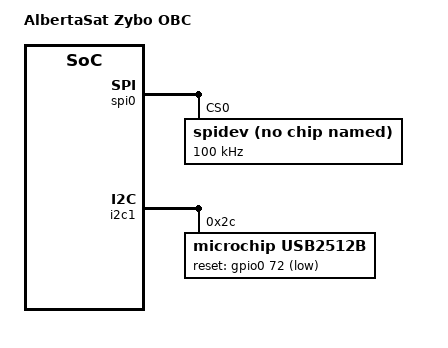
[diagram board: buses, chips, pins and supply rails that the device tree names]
/include/ "system-conf.dtsi"

/ {
	model = "AlbertaSat Zybo OBC";

	// chosen {
	// 	bootargs = "console=heracles_uart,115200n8 earlycon root=/dev/mmcblk0p2 rw rootwait";
	// 	stdout-path = "serial0:115200n8";
	// };
	
	aliases {
		uhf_rs485_uart = &uart0;
		dfgm_uart = &axi_uartlite_dfgm;
		gps_uart = &axi_uartlite_gps;
		heracles_uart = &axi_uartlite_heracles;
		// uhf_uart = &axi_uartlite_uhf;
		sband_i2c = &axi_iic_sband;
		db_i2c = &i2c1;
		sband_spi = &spi0;
	};
};

// https://stackoverflow.com/questions/53634892/linux-spidev-why-it-shouldnt-be-directly-in-devicetree
// Easiest method is to use "rohm,dh2228fv"
&spi0 {
    spidev@0 {
        symlink = "sband_spi";
        compatible = "rohm,dh2228fv";
        spi-max-frequency = <100000>;
        reg = <0>;
    };
};

&axi_iic_sband {
    symlink = "sband_i2c";
};

&axi_uartlite_dfgm {
    symlink = "dfgm_uart";
    port-number = <0x03>;
};

&axi_uartlite_gps {
    symlink = "gps_uart";
    port-number = <0x02>;
};

&uart0 {
    symlink = "uhf_rs485_uart";
};

&axi_uartlite_heracles {
    symlink = "heracles_uart";
    port-number = <0x01>;
};

&i2c1 {
    symlink = "db_i2c";
    usb2512b@2c {
        compatible = "microchip,usb2512b";
        reg = <0x2c>;
        reset-gpios = <&gpio0 72 1>;
        string-support;
		manufacturer = "AlbertaSat";
		product = "Daedalus Hub";
		serial = "DEADBEEF";
    };
};

&gpio0 {
	gpio-line-names =
		/* Bank 0 */
		"MIO0",
		"MIO1",
		"MIO2",
		"MIO3",
		"MIO4",
		"MIO5",
		"MIO6",
		"MIO7",
		"MIO8",
		"ps_pa3_done",
		"usb_reset",
		"eth_reset",
		"MIO12",
		"MIO13",
		"MIO14",
		"MIO15",
		"MIO16",
		"MIO17",
		"MIO18",
		"MIO19",
		"MIO20",
		"MIO21",
		"MIO22",
		"MIO23",
		"MIO24",
		"MIO25",
		"MIO26",
		"MIO27",
		"MIO28",
		"MIO29",
		"MIO30",
		"MIO31",
		/* Bank 1 */
		"MIO32",
		"MIO33",
		"MIO34",
		"MIO35",
		"MIO36",
		"MIO37",
		"MIO38",
		"MIO39",
		"MIO40",
		"MIO41",
		"MIO42",
		"MIO43",
		"MIO44",
		"MIO45",
		"MIO46",
		"MIO47",
		"MIO48",
		"MIO49",
		"MIO50",
		"MIO51",
		"MIO52",
		"MIO53",
		/* Bank 2 */
		"STACK_UHF_ENABLE",
		"SBAND_TR",
		"STACK_SBAND_n_RESET",
		"Q7_DFGMKnifeEN",
		"Q7_StarboardKnifeEN",
		"SwitchDeployable_S",
		"SwitchDeployable_P",
		"Starboard_IR_Sens",
		"SP_nAlert",
		"SP_SHDN",
		"GPS_nAlert",
		"GPS_SHDN",
		"Port_IR_Sens",
		"STACK_SBAND_STX_EN",
		"DFGM_IR_Sens",
		"TS_Alert",
		"TS_RS",
		"GPS_RSTN",
		"HUB_RESET_L",
		"HUB_HS_IND",
		"CAN_EN",
		"CAN_RS",
		"Q7_PortKnifeEN",
		"HUB_SETUP_IND",
		"STACK_GPS_PPS",
		"EMIO25",
		"EMIO26",
		"EMIO27",
		"EMIO28",
		"EMIO29",
		"EMIO30",
		"EMIO31",
		/* Bank 3 */
		"EMIO32",
		"EMIO33",
		"EMIO34",
		"EMIO35",
		"EMIO36",
		"EMIO37",
		"EMIO38",
		"EMIO39",
		"EMIO40",
		"EMIO41",
		"EMIO42",
		"EMIO43",
		"EMIO44",
		"EMIO45",
		"EMIO46",
		"EMIO47",
		"EMIO48",
		"EMIO49",
		"EMIO50",
		"EMIO51",
		"EMIO52",
		"EMIO53",
		"EMIO54",
		"EMIO55",
		"EMIO56",
		"EMIO57",
		"EMIO58",
		"EMIO59",
		"EMIO60",
		"EMIO61",
		"EMIO62",
		"EMIO63";
};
